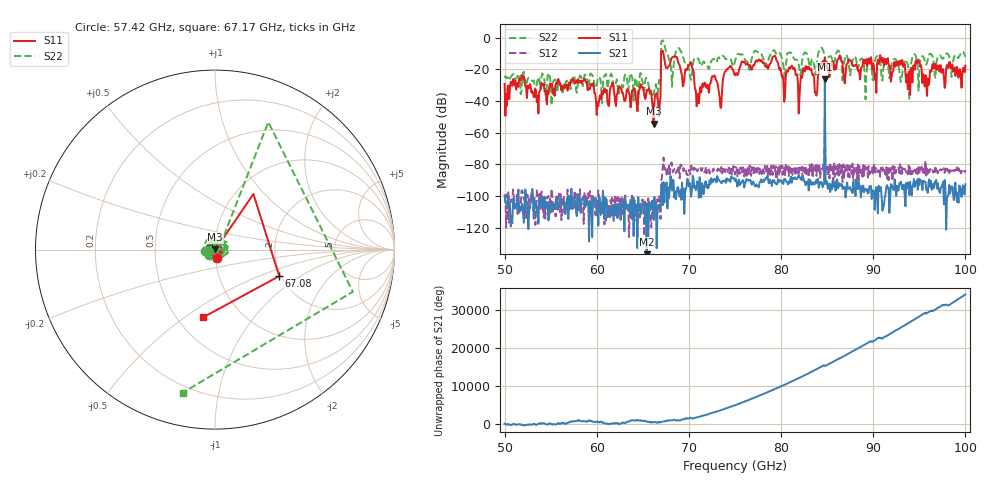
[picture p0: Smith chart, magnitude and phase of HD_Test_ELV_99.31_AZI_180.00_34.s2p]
! 11/25/2026 9:22:36 AM
! C:\ANRITSUVNA\TEMP\TEMP.S2P
! CHANNEL.1
! TR.MEASUREMENT
! RAW.DATA
# HZ S RI R 50.0
! FREQ.HZ  S11RE  S11IM  S21RE  S21IM  S12RE  S12IM  S22RE  S22IM
!; PortSelection: Port_12
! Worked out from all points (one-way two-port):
!   601 points, 50 GHz to 100 GHz, reference 50 ohm
!   highest |S21| = -26.23 dB at 84.75 GHz (marker M1); lowest = -137.0 dB at 65.42 GHz (marker M2)
!   lowest |S11| = -54.3 dB at 66.17 GHz (marker M3), VSWR 1.00, Z = 50.1 + j0.15 ohm
!   |S11| at or under -10 dB: start of sweep to 67 GHz; 67.24 GHz to end of sweep
!   |S22| runs from -42.6 to -1.8 dB; largest |S21 - S12| = 0.049
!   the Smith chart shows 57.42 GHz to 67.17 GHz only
!   S11 on the Smith chart (normalised r, x): 57.42 GHz: 1.02, -0.10; 67.08 GHz: 1.96, -0.68; 67.17 GHz: 0.67, -0.59
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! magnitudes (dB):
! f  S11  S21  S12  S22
! 50 GHz  -29.2  -99.5  -99.6  -25.4
! 57.42 GHz  -26.3  -101.2  -103.5  -25.2
! 58.42 GHz  -27.2  -101.9  -105.0  -29.0
! 60.17 GHz  -43.2  -118.9  -96.6  -24.8
! 65.42 GHz  -33.0  -137.0  -115.9  -26.3
! 66.17 GHz  -54.3  -115.1  -111.2  -35.4
! 66.67 GHz  -41.9  -105.8  -103.3  -32.1
! 67.08 GHz  -8.2  -91.7  -87.2  -1.9
! 67.17 GHz  -8.3  -105.9  -81.0  -1.8
! 70.17 GHz  -15.4  -95.1  -86.5  -25.7
! 70.92 GHz  -40.6  -90.7  -84.5  -13.3
! 75 GHz  -23.7  -90.6  -86.4  -15.0
! 79.25 GHz  -11.8  -90.0  -83.9  -7.9
! 80.25 GHz  -27.5  -92.5  -81.9  -17.6
! 83.42 GHz  -23.8  -91.3  -88.6  -13.7
! 83.83 GHz  -36.6  -89.9  -87.3  -19.5
! 84.75 GHz  -12.6  -26.2  -51.2  -11.8
! 91.67 GHz  -16.7  -94.8  -90.1  -20.4
! 93.75 GHz  -32.7  -91.5  -86.5  -17.3
! 94.83 GHz  -15.0  -96.1  -86.2  -20.3
! 95.83 GHz  -36.9  -95.8  -82.1  -15.9
! 100 GHz  -17.7  -92.7  -83.6  -12.2
